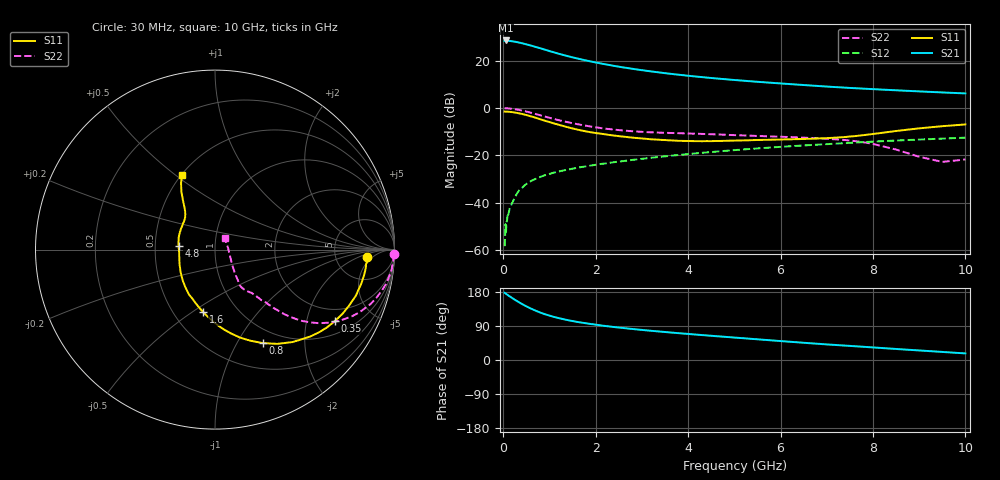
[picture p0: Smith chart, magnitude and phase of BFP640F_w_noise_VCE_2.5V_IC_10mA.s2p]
! Infineon Technologies  Discrete & RF Semiconductors
! BFP640F
! VCE =  2.5 V,  IC =  10 mA
! Common Emitter S-Parameters:  Apr 2013
# GHz  S  MA  R  50
!  f  S11  S21  S12  S22
! GHz  MAG  ANG  MAG  ANG  MAG  ANG  MAG  ANG
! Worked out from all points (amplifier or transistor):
!   99 points, 30 MHz to 10 GHz, reference 50 ohm
!   highest |S21| = 28.7 dB at 50 MHz (marker M1)
!   |S21| within 3 dB of that: start of sweep to 746.4 MHz
!   unconditionally stable (mu >= 1): 3.089 GHz to end of sweep
!   at 350 MHz: K = 0.20, MSG = 31.2 dB, |S12| = -34.7 dB
!   at 3.5 GHz: K = 1.03, MAG = 16.6 dB, |S12| = -20.4 dB
!   at 10 GHz: K = 1.07, MAG = 7.8 dB, |S12| = -12.5 dB
!   lowest NFmin = 0.63 dB at 450 MHz
!   S11 on the Smith chart (normalised r, x): 30 MHz: 11, -3; 350 MHz: 1.46, -2.95; 800 MHz: 0.81, -1.28; 1.6 GHz: 0.69, -0.55; 4.8 GHz: 0.66, +0.03; 10 GHz: 0.50, +0.53
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0.03  0.8504 -2.7  26.84 177.3  0.0012 97.5  0.995 -1.5
0.05  0.8508 -4.7  27.23 175.7  0.0035 85.0  0.9966 -2.8
0.12  0.84 -11.0  26.83 169.6  0.0062 82.0  0.989 -6.9
0.2  0.8255 -18.2  26.08 163.1  0.0101 81.9  0.9709 -11.5
0.25  0.8102 -22.5  25.66 159.1  0.0128 80.2  0.9554 -14.1
0.35  0.7773 -30.9  24.48 151.7  0.0185 75.9  0.9188 -19.2
0.45  0.7387 -38.8  23.2 144.8  0.0227 73.3  0.8751 -23.7
0.6  0.6725 -50.0  21.24 135.6  0.0287 69.7  0.8028 -29.5
0.8  0.5845 -63.0  18.62 125.2  0.0351 65.3  0.7096 -35.3
0.9  0.5445 -68.8  17.42 120.9  0.038 64.1  0.6675 -37.4
1.1  0.4755 -79.2  15.23 113.6  0.0434 61.5  0.5916 -40.7
1.4  0.3952 -92.6  12.65 105.1  0.0502 59.6  0.5055 -43.6
1.6  0.3539 -100.9  11.33 100.6  0.0549 58.7  0.4605 -44.9
1.7  0.337 -104.7  10.76 98.6  0.057 58.3  0.4415 -45.2
2.1  0.2904 -119.7  8.918 91.5  0.0658 57.3  0.3816 -47.5
2.4  0.264 -129.4  7.885 87.0  0.0721 56.7  0.3522 -48.3
3.4  0.2142 -157.1  5.686 74.9  0.0936 54.4  0.3039 -51.1
4.8  0.2042 173.7  4.118 61.1  0.1251 49.5  0.2745 -53.9
5.1  0.2075 168.7  3.893 58.3  0.1318 48.4  0.2675 -54.4
6.7  0.2266 143.0  3.009 43.7  0.167 41.0  0.2336 -55.1
8.5  0.3296 122.9  2.398 29.1  0.2071 32.1  0.1334 -43.0
10  0.4537 113.9  2.06 17.4  0.2383 24.1  0.0822 49.0
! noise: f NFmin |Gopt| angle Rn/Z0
0.45  0.63  0.2  7  0.06
0.9  0.63  0.19  19  0.06
1.5  0.65  0.18  28  0.07
1.9  0.67  0.17  43  0.08
2.4  0.7  0.15  55  0.08
3.5  0.79  0.12  85  0.1
5.5  0.99  0.13  -177  0.13
10  1.54  0.4  -98  0.34
